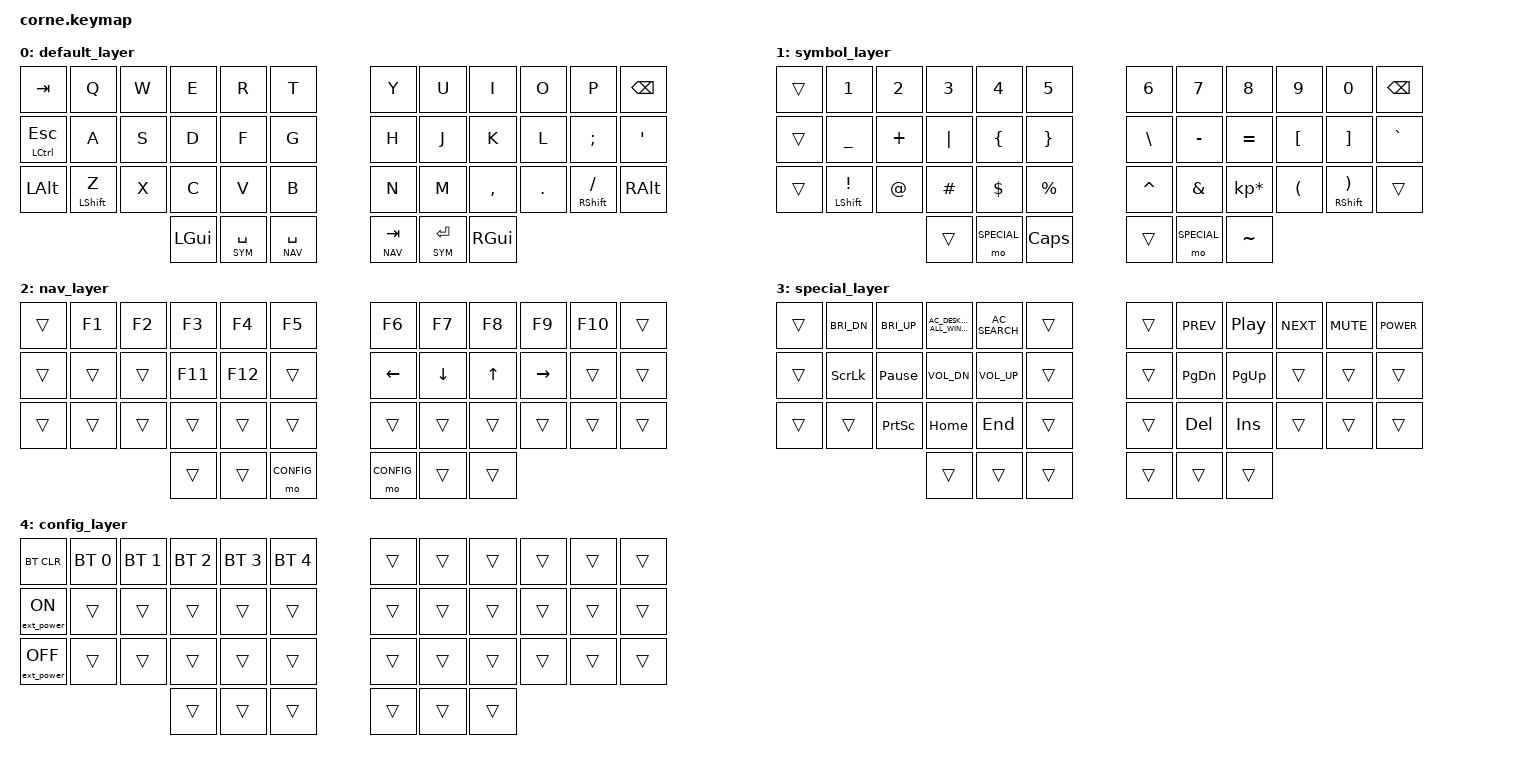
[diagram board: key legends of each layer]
/*
 * Copyright (c) 2020 The ZMK Contributors
 *
 * SPDX-License-Identifier: MIT
 */

#include <behaviors.dtsi>
#include <dt-bindings/zmk/keys.h>
#include <dt-bindings/zmk/bt.h>
#include <dt-bindings/zmk/ext_power.h>

// define 
#define DEFAULT 0
#define SYM 1
#define NAV 2
#define SPECIAL 3
#define CONFIG 4
#define KEYS_L 0 1 2 3 4  5  12 13 14 15 16 17 24 25 26 27 28 29
#define KEYS_R 6 7 8 9 10 11 18 19 20 21 22 23 30 31 32 33 34 35
#define THUMBS 36 37 38 39 40 41 

/ {
    behaviors {
        asl: alpha_shift_l {
            compatible = "zmk,behavior-hold-tap";
            label = "ALPHA_SFT_L";
            #binding-cells = <2>;
            tapping-term-ms = <200>;
            quick-tap-ms = <150>;
            flavor = "balanced";
            bindings = <&kp>, <&kp>;
            hold-trigger-key-positions = <KEYS_R THUMBS>;
            hold-trigger-on-release;
        };
        asr: alpha_shift_r {
            compatible = "zmk,behavior-hold-tap";
            label = "ALPHA_SFT_R";
            #binding-cells = <2>;
            tapping-term-ms = <200>;
            quick-tap-ms = <150>;
            flavor = "balanced";
            bindings = <&kp>, <&kp>;
            hold-trigger-key-positions = <KEYS_L THUMBS>;
            hold-trigger-on-release;
        };
    };
    keymap {
        compatible = "zmk,keymap";

        default_layer {
            bindings = <
    &kp TAB       &kp Q        &kp W &kp E &kp R &kp T    &kp Y &kp U  &kp I     &kp O   &kp P           &kp BSPC 
    &mt LCTRL ESC &kp A        &kp S &kp D &kp F &kp G    &kp H &kp J  &kp K     &kp L   &kp SEMI        &kp SQT
    &kp LALT      &asl LSHFT Z &kp X &kp C &kp V &kp B    &kp N &kp M  &kp COMMA &kp DOT &asr RSHFT FSLH &kp RALT
                  &kp LGUI &lt SYM SPACE &lt NAV SPACE    &lt NAV TAB &lt SYM RET &kp RGUI
            >;
        };
        symbol_layer {
            bindings = <
   &trans &kp N1          &kp N2    &kp N3   &kp N4      &kp N5    &kp N6    &kp N7    &kp N8          &kp N9    &kp N0          &kp BSPC
   &trans &kp UNDER       &kp PLUS  &kp PIPE &kp LBRC    &kp RBRC  &kp BSLH  &kp MINUS &kp EQUAL       &kp LBKT  &kp RBKT        &kp GRAVE
   &trans &asl LSHFT EXCL &kp AT    &kp HASH &kp DLLR    &kp PRCNT &kp CARET &kp AMPS  &kp KP_MULTIPLY &kp LPAR  &asr RSHFT RPAR &trans
                        &trans   &mo SPECIAL &kp CAPS    &trans    &mo SPECIAL &kp TILDE
            >;
        };
        nav_layer {
            bindings = <
   &trans     &kp F1       &kp F2       &kp F3       &kp F4       &kp F5            &kp F6   &kp F7   &kp F8 &kp F9    &kp F10 &trans
   &trans     &trans       &trans       &kp F11      &kp F12      &trans            &kp LEFT &kp DOWN &kp UP &kp RIGHT &trans  &trans
   &trans     &trans       &trans       &trans       &trans       &trans            &trans   &trans   &trans &trans    &trans  &trans
                                                &trans &trans &mo CONFIG            &mo CONFIG &trans &trans
            >;
        };
        special_layer {
            bindings = <
   &trans &kp C_BRI_DN    &kp C_BRI_UP    &kp C_AC_DESKTOP_SHOW_ALL_WINDOWS &kp C_AC_SEARCH &trans      &trans &kp C_PREV    &kp C_PP    &kp C_NEXT &kp K_MUTE &kp C_POWER
   &trans &kp SCROLLLOCK  &kp PAUSE_BREAK &kp C_VOL_DN                      &kp C_VOL_UP    &trans      &trans &kp PAGE_DOWN &kp PAGE_UP &trans     &trans     &trans
   &trans &trans          &kp PRINTSCREEN &kp HOME                          &kp END         &trans      &trans &kp DELETE    &kp INSERT  &trans     &trans     &trans
                                                                            &trans &trans   &trans      &trans &trans &trans
            >;
        };
        config_layer {
            bindings = <
   &bt BT_CLR        &bt BT_SEL 0 &bt BT_SEL 1 &bt BT_SEL 2 &bt BT_SEL 3 &bt BT_SEL 4      &trans   &trans   &trans &trans &trans &trans
   &ext_power EP_ON  &trans       &trans       &trans       &trans       &trans            &trans   &trans   &trans &trans &trans &trans
   &ext_power EP_OFF &trans       &trans       &trans       &trans       &trans            &trans   &trans   &trans &trans &trans &trans
                                                    &trans &trans &trans            &trans   &trans   &trans
            >;
        };
    };
};
